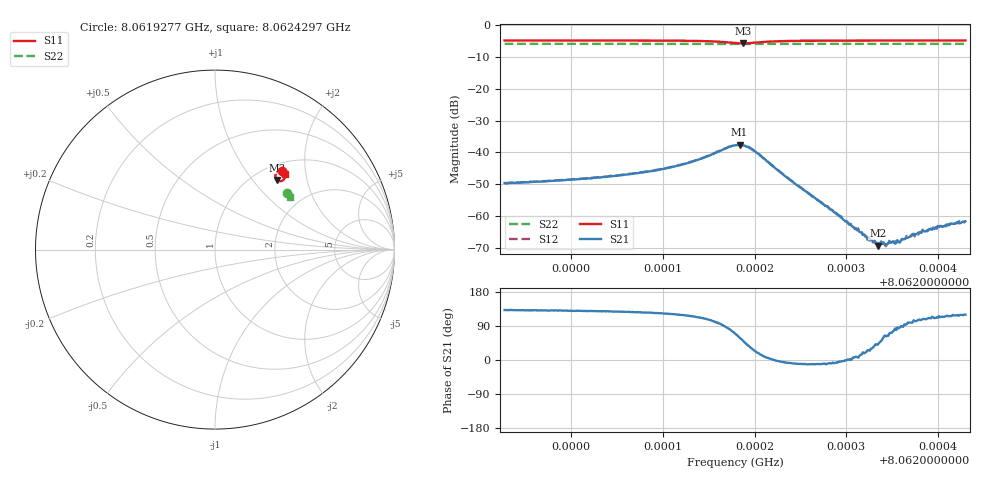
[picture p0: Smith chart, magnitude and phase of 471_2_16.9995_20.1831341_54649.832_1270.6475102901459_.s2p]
#  HZ  S  RI  R  50.00
! Rohde & Schwarz Vector Network Analyzer
! Rohde-Schwarz,ZNB20-2Port,1311601062101988,3.16
! Created: UTC 3/20/2024, 11:13:10 PM
! freq[Hz]  re:S11  im:S11  re:S21  im:S21  re:S12  im:S12  re:S22  im:S22
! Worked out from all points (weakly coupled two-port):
!   401 points, 8.0619277 GHz to 8.0624297 GHz, reference 50 ohm
!   highest |S21| = -37.60 dB at 8.0621838 GHz (marker M1); lowest = -69.3 dB at 8.0623344 GHz (marker M2)
!   lowest |S11| = -5.7 dB at 8.0621875 GHz (marker M3), VSWR 3.16, Z = 62.9 + j66.9 ohm
!   |S11| at or under -10 dB: nowhere
!   |S22| runs from -5.9 to -5.8 dB; largest |S21 - S12| = 0.00092
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8.06192772e9  0.3723 0.4397  -0.0022 0.00246  -0.00206 0.00262  0.4013 0.3156
8.06201181e9  0.3787 0.4336  -0.00245 0.00295  -0.00228 0.00312  0.4042 0.3114
8.0620595e9  0.3829 0.4289  -0.0027 0.00357  -0.0025 0.00372  0.4062 0.3088
8.0620959e9  0.3865 0.4233  -0.00295 0.00446  -0.00269 0.00468  0.4074 0.3069
8.06213229e9  0.3901 0.4126  -0.00306 0.00647  -0.00267 0.00671  0.4087 0.3044
8.06217873e9  0.362 0.381  0.00448 0.0122  0.00522 0.012  0.4087 0.3012
8.06218375e9  0.3515 0.3835  0.00676 0.0113  0.00735 0.0109  0.4084 0.3012
8.06218752e9  0.3444 0.3881  0.00823 0.00997  0.00889 0.00956  0.4081 0.3014
8.06219505e9  0.3364 0.4027  0.00968 0.00652  0.0102 0.00612  0.4084 0.3019
8.06220258e9  0.3372 0.4165  0.00919 0.00331  0.00948 0.00291  0.4089 0.3022
8.06223521e9  0.3601 0.4354  0.00399 -0.000513  0.00401 -0.00077  0.4111 0.301
8.06226282e9  0.3707 0.4348  0.00199 -0.000377  0.002 -0.000538  0.4125 0.2995
8.06232558e9  0.3816 0.43  0.0004 0.000183  0.000376 0.000156  0.415 0.2962
8.06233436e9  0.3827 0.4294  0.00026 0.000222  0.000276 0.000262  0.4153 0.2958
8.06234189e9  0.3835 0.4288  0.000153 0.000325  0.000182 0.000303  0.4157 0.2954
8.06234691e9  0.384 0.4286  0.000139 0.000384  0.000183 0.000333  0.4159 0.295
8.0623557e9  0.3848 0.4279  2.81e-05 0.000416  6.16e-05 0.000392  0.4162 0.2945
8.06236825e9  0.3862 0.427  -6.78e-05 0.000461  -2.88e-05 0.000512  0.4165 0.2939
8.06237703e9  0.3869 0.4265  -0.000123 0.000511  -8.02e-05 0.000515  0.417 0.2934
8.06238582e9  0.3875 0.4259  -0.000173 0.000546  -0.000168 0.000562  0.4173 0.2929
8.06241092e9  0.3897 0.4243  -0.000318 0.000673  -0.000312 0.000642  0.418 0.2917
8.06242975e9  0.3911 0.4233  -0.000411 0.000721  -0.000361 0.000755  0.4188 0.2907
